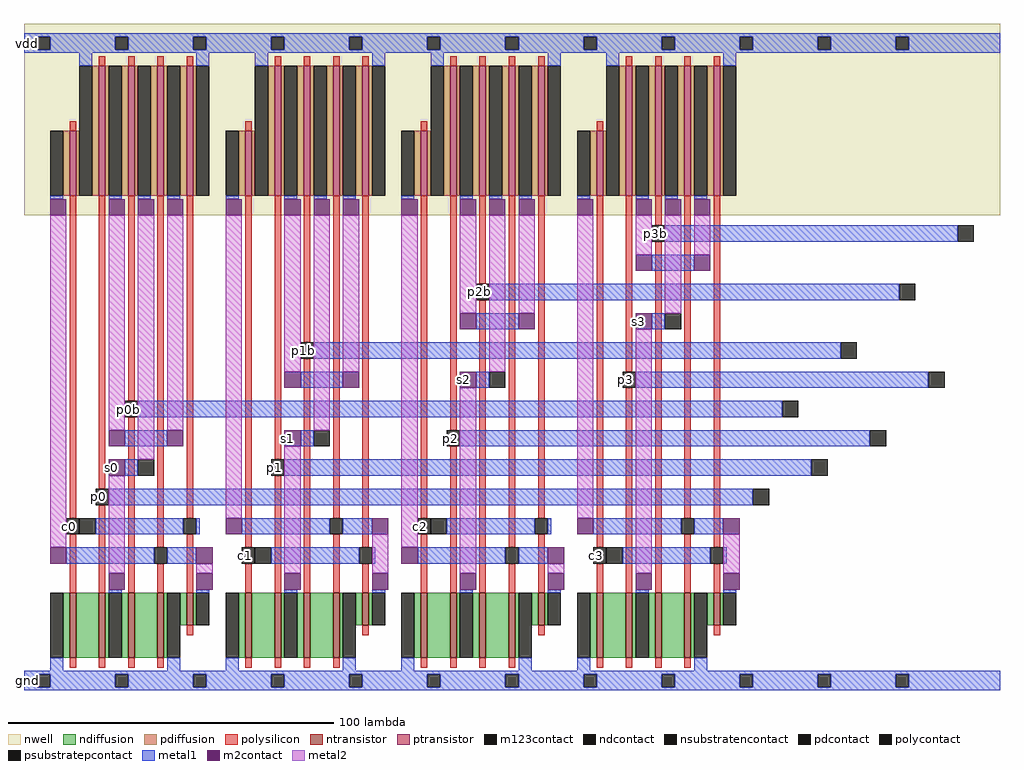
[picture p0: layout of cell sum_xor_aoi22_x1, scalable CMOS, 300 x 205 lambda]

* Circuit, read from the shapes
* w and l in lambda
.subckt sum_xor_aoi22_x1 c0 c1 c2 c3 p0 p0b p1 p1b p2 p2b p3 p3b s0 s1 s2 s3 vdd gnd
M1 n1 c0 gnd gnd nfet w=20 l=2
M2 s0 p0 n1 gnd nfet w=20 l=2
M3 n2 p0b s0 gnd nfet w=20 l=2
M4 gnd n3 n2 gnd nfet w=20 l=2
M5 n3 c0 gnd gnd nfet w=10 l=2
M6 n4 c1 gnd gnd nfet w=20 l=2
M7 s1 p1 n4 gnd nfet w=20 l=2
M8 n5 p1b s1 gnd nfet w=20 l=2
M9 gnd n6 n5 gnd nfet w=20 l=2
M10 n6 c1 gnd gnd nfet w=10 l=2
M11 n7 c2 gnd gnd nfet w=20 l=2
M12 s2 p2 n7 gnd nfet w=20 l=2
M13 n8 p2b s2 gnd nfet w=20 l=2
M14 gnd n9 n8 gnd nfet w=20 l=2
M15 n9 c2 gnd gnd nfet w=10 l=2
M16 n10 c3 gnd gnd nfet w=20 l=2
M17 s3 p3 n10 gnd nfet w=20 l=2
M18 n11 p3b s3 gnd nfet w=20 l=2
M19 gnd n12 n11 gnd nfet w=20 l=2
M20 n12 c3 gnd gnd nfet w=10 l=2
M21 vdd c0 n3 vdd pfet w=20 l=2
M22 n13 p0 vdd vdd pfet w=40 l=2
M23 s0 p0b n13 vdd pfet w=40 l=2
M24 n13 n3 s0 vdd pfet w=40 l=2
M25 vdd c0 n13 vdd pfet w=40 l=2
M26 vdd c1 n6 vdd pfet w=20 l=2
M27 n14 p1 vdd vdd pfet w=40 l=2
M28 s1 p1b n14 vdd pfet w=40 l=2
M29 n14 n6 s1 vdd pfet w=40 l=2
M30 vdd c1 n14 vdd pfet w=40 l=2
M31 vdd c2 n9 vdd pfet w=20 l=2
M32 n15 p2 vdd vdd pfet w=40 l=2
M33 s2 p2b n15 vdd pfet w=40 l=2
M34 n15 n9 s2 vdd pfet w=40 l=2
M35 vdd c2 n15 vdd pfet w=40 l=2
M36 vdd c3 n12 vdd pfet w=20 l=2
M37 n16 p3 vdd vdd pfet w=40 l=2
M38 s3 p3b n16 vdd pfet w=40 l=2
M39 n16 n12 s3 vdd pfet w=40 l=2
M40 vdd c3 n16 vdd pfet w=40 l=2
.ends

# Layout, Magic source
magic
tech scmos
<< nwell >>
rect 0 146 300 205
<< ntransistor >>
rect 14 10 16 30
rect 23 10 25 30
rect 32 10 34 30
rect 41 10 43 30
rect 50 20 52 30
rect 68 10 70 30
rect 77 10 79 30
rect 86 10 88 30
rect 95 10 97 30
rect 104 20 106 30
rect 122 10 124 30
rect 131 10 133 30
rect 140 10 142 30
rect 149 10 151 30
rect 158 20 160 30
rect 176 10 178 30
rect 185 10 187 30
rect 194 10 196 30
rect 203 10 205 30
rect 212 20 214 30
<< ptransistor >>
rect 14 152 16 172
rect 23 152 25 192
rect 32 152 34 192
rect 41 152 43 192
rect 50 152 52 192
rect 68 152 70 172
rect 77 152 79 192
rect 86 152 88 192
rect 95 152 97 192
rect 104 152 106 192
rect 122 152 124 172
rect 131 152 133 192
rect 140 152 142 192
rect 149 152 151 192
rect 158 152 160 192
rect 176 152 178 172
rect 185 152 187 192
rect 194 152 196 192
rect 203 152 205 192
rect 212 152 214 192
<< ndiffusion >>
rect 12 10 14 30
rect 16 10 23 30
rect 25 10 26 30
rect 30 10 32 30
rect 34 10 41 30
rect 43 10 44 30
rect 48 20 50 30
rect 52 20 53 30
rect 66 10 68 30
rect 70 10 77 30
rect 79 10 80 30
rect 84 10 86 30
rect 88 10 95 30
rect 97 10 98 30
rect 102 20 104 30
rect 106 20 107 30
rect 120 10 122 30
rect 124 10 131 30
rect 133 10 134 30
rect 138 10 140 30
rect 142 10 149 30
rect 151 10 152 30
rect 156 20 158 30
rect 160 20 161 30
rect 174 10 176 30
rect 178 10 185 30
rect 187 10 188 30
rect 192 10 194 30
rect 196 10 203 30
rect 205 10 206 30
rect 210 20 212 30
rect 214 20 215 30
<< pdiffusion >>
rect 12 152 14 172
rect 16 152 17 172
rect 21 152 23 192
rect 25 152 26 192
rect 30 152 32 192
rect 34 152 35 192
rect 39 152 41 192
rect 43 152 44 192
rect 48 152 50 192
rect 52 152 53 192
rect 66 152 68 172
rect 70 152 71 172
rect 75 152 77 192
rect 79 152 80 192
rect 84 152 86 192
rect 88 152 89 192
rect 93 152 95 192
rect 97 152 98 192
rect 102 152 104 192
rect 106 152 107 192
rect 120 152 122 172
rect 124 152 125 172
rect 129 152 131 192
rect 133 152 134 192
rect 138 152 140 192
rect 142 152 143 192
rect 147 152 149 192
rect 151 152 152 192
rect 156 152 158 192
rect 160 152 161 192
rect 174 152 176 172
rect 178 152 179 172
rect 183 152 185 192
rect 187 152 188 192
rect 192 152 194 192
rect 196 152 197 192
rect 201 152 203 192
rect 205 152 206 192
rect 210 152 212 192
rect 214 152 215 192
<< ndcontact >>
rect 8 10 12 30
rect 26 10 30 30
rect 44 10 48 30
rect 53 20 57 30
rect 62 10 66 30
rect 80 10 84 30
rect 98 10 102 30
rect 107 20 111 30
rect 116 10 120 30
rect 134 10 138 30
rect 152 10 156 30
rect 161 20 165 30
rect 170 10 174 30
rect 188 10 192 30
rect 206 10 210 30
rect 215 20 219 30
<< pdcontact >>
rect 8 152 12 172
rect 17 152 21 192
rect 26 152 30 192
rect 35 152 39 192
rect 44 152 48 192
rect 53 152 57 192
rect 62 152 66 172
rect 71 152 75 192
rect 80 152 84 192
rect 89 152 93 192
rect 98 152 102 192
rect 107 152 111 192
rect 116 152 120 172
rect 125 152 129 192
rect 134 152 138 192
rect 143 152 147 192
rect 152 152 156 192
rect 161 152 165 192
rect 170 152 174 172
rect 179 152 183 192
rect 188 152 192 192
rect 197 152 201 192
rect 206 152 210 192
rect 215 152 219 192
<< psubstratepcontact >>
rect 4 1 8 5
rect 28 1 32 5
rect 52 1 56 5
rect 76 1 80 5
rect 100 1 104 5
rect 124 1 128 5
rect 148 1 152 5
rect 172 1 176 5
rect 196 1 200 5
rect 220 1 224 5
rect 244 1 248 5
rect 268 1 272 5
<< nsubstratencontact >>
rect 4 197 8 201
rect 28 197 32 201
rect 52 197 56 201
rect 76 197 80 201
rect 100 197 104 201
rect 124 197 128 201
rect 148 197 152 201
rect 172 197 176 201
rect 196 197 200 201
rect 220 197 224 201
rect 244 197 248 201
rect 268 197 272 201
<< polysilicon >>
rect 23 192 25 195
rect 32 192 34 195
rect 41 192 43 195
rect 50 192 52 195
rect 77 192 79 195
rect 86 192 88 195
rect 95 192 97 195
rect 104 192 106 195
rect 131 192 133 195
rect 140 192 142 195
rect 149 192 151 195
rect 158 192 160 195
rect 185 192 187 195
rect 194 192 196 195
rect 203 192 205 195
rect 212 192 214 195
rect 14 172 16 175
rect 68 172 70 175
rect 122 172 124 175
rect 176 172 178 175
rect 14 53 16 152
rect 23 62 25 152
rect 32 89 34 152
rect 14 30 16 48
rect 23 30 25 57
rect 32 30 34 84
rect 41 44 43 152
rect 50 53 52 152
rect 41 30 43 39
rect 50 30 52 48
rect 68 44 70 152
rect 77 71 79 152
rect 86 107 88 152
rect 68 30 70 39
rect 77 30 79 66
rect 86 30 88 102
rect 95 53 97 152
rect 95 30 97 48
rect 104 44 106 152
rect 122 53 124 152
rect 131 80 133 152
rect 140 125 142 152
rect 104 30 106 39
rect 122 30 124 48
rect 131 30 133 75
rect 140 30 142 120
rect 149 44 151 152
rect 158 53 160 152
rect 149 30 151 39
rect 158 30 160 48
rect 176 44 178 152
rect 185 98 187 152
rect 194 143 196 152
rect 176 30 178 39
rect 185 30 187 93
rect 194 30 196 138
rect 203 53 205 152
rect 203 30 205 48
rect 212 44 214 152
rect 212 30 214 39
rect 50 17 52 20
rect 104 17 106 20
rect 158 17 160 20
rect 212 17 214 20
rect 14 7 16 10
rect 23 7 25 10
rect 32 7 34 10
rect 41 7 43 10
rect 68 7 70 10
rect 77 7 79 10
rect 86 7 88 10
rect 95 7 97 10
rect 122 7 124 10
rect 131 7 133 10
rect 140 7 142 10
rect 149 7 151 10
rect 176 7 178 10
rect 185 7 187 10
rect 194 7 196 10
rect 203 7 205 10
<< polycontact >>
rect 31 84 35 89
rect 22 57 26 62
rect 13 48 17 53
rect 49 48 53 53
rect 40 39 44 44
rect 85 102 89 107
rect 76 66 80 71
rect 67 39 71 44
rect 94 48 98 53
rect 139 120 143 125
rect 130 75 134 80
rect 121 48 125 53
rect 103 39 107 44
rect 157 48 161 53
rect 148 39 152 44
rect 193 138 197 143
rect 184 93 188 98
rect 175 39 179 44
rect 202 48 206 53
rect 211 39 215 44
<< metal1 >>
rect 0 201 300 202
rect 0 197 4 201
rect 8 197 28 201
rect 32 197 52 201
rect 56 197 76 201
rect 80 197 100 201
rect 104 197 124 201
rect 128 197 148 201
rect 152 197 172 201
rect 176 197 196 201
rect 200 197 220 201
rect 224 197 244 201
rect 248 197 268 201
rect 272 197 300 201
rect 0 196 300 197
rect 17 192 21 196
rect 53 192 57 196
rect 8 151 12 152
rect 26 151 30 152
rect 35 151 39 152
rect 71 192 75 196
rect 107 192 111 196
rect 44 151 48 152
rect 62 151 66 152
rect 80 151 84 152
rect 89 151 93 152
rect 125 192 129 196
rect 161 192 165 196
rect 98 151 102 152
rect 116 151 120 152
rect 134 151 138 152
rect 143 151 147 152
rect 179 192 183 196
rect 215 192 219 196
rect 152 151 156 152
rect 170 151 174 152
rect 188 151 192 152
rect 197 151 201 152
rect 206 151 210 152
rect 197 138 287 143
rect 193 129 206 134
rect 143 120 269 125
rect 139 111 152 116
rect 193 111 197 116
rect 89 102 251 107
rect 85 93 98 98
rect 139 93 143 98
rect 188 93 278 98
rect 35 84 233 89
rect 31 75 44 80
rect 85 75 89 80
rect 134 75 260 80
rect 31 66 35 71
rect 80 66 242 71
rect 26 57 224 62
rect 22 48 49 53
rect 53 48 54 53
rect 67 48 94 53
rect 98 48 107 53
rect 130 48 157 53
rect 161 48 162 53
rect 175 48 202 53
rect 206 48 215 53
rect 13 39 40 44
rect 44 39 53 44
rect 76 39 103 44
rect 107 39 108 44
rect 121 39 148 44
rect 152 39 161 44
rect 184 39 211 44
rect 215 39 216 44
rect 26 30 30 31
rect 53 30 57 31
rect 80 30 84 31
rect 107 30 111 31
rect 134 30 138 31
rect 161 30 165 31
rect 188 30 192 31
rect 215 30 219 31
rect 8 6 12 10
rect 44 6 48 10
rect 62 6 66 10
rect 98 6 102 10
rect 116 6 120 10
rect 152 6 156 10
rect 170 6 174 10
rect 206 6 210 10
rect 0 5 300 6
rect 0 1 4 5
rect 8 1 28 5
rect 32 1 52 5
rect 56 1 76 5
rect 80 1 100 5
rect 104 1 124 5
rect 128 1 148 5
rect 152 1 172 5
rect 176 1 196 5
rect 200 1 220 5
rect 224 1 244 5
rect 248 1 268 5
rect 272 1 300 5
rect 0 0 300 1
<< m2contact >>
rect 8 146 13 151
rect 26 146 31 151
rect 35 146 40 151
rect 44 146 49 151
rect 62 146 67 151
rect 80 146 85 151
rect 89 146 94 151
rect 98 146 103 151
rect 116 146 121 151
rect 134 146 139 151
rect 143 146 148 151
rect 152 146 157 151
rect 170 146 175 151
rect 188 146 193 151
rect 197 146 202 151
rect 206 146 211 151
rect 188 129 193 134
rect 206 129 211 134
rect 134 111 139 116
rect 152 111 157 116
rect 188 111 193 116
rect 80 93 85 98
rect 98 93 103 98
rect 134 93 139 98
rect 26 75 31 80
rect 44 75 49 80
rect 80 75 85 80
rect 26 66 31 71
rect 62 48 67 53
rect 107 48 112 53
rect 170 48 175 53
rect 215 48 220 53
rect 8 39 13 44
rect 53 39 58 44
rect 116 39 121 44
rect 161 39 166 44
rect 26 31 31 36
rect 53 31 58 36
rect 80 31 85 36
rect 107 31 112 36
rect 134 31 139 36
rect 161 31 166 36
rect 188 31 193 36
rect 215 31 220 36
<< metal2 >>
rect 8 44 13 146
rect 26 80 31 146
rect 35 71 40 146
rect 44 80 49 146
rect 26 36 31 66
rect 62 53 67 146
rect 80 98 85 146
rect 89 80 94 146
rect 98 98 103 146
rect 53 36 58 39
rect 80 36 85 75
rect 107 36 112 48
rect 116 44 121 146
rect 134 116 139 146
rect 143 98 148 146
rect 152 116 157 146
rect 134 36 139 93
rect 170 53 175 146
rect 188 134 193 146
rect 197 116 202 146
rect 206 134 211 146
rect 161 36 166 39
rect 188 36 193 111
rect 215 36 220 48
<< m123contact >>
rect 35 66 40 71
rect 17 48 22 53
rect 89 75 94 80
rect 71 39 76 44
rect 143 93 148 98
rect 125 48 130 53
rect 287 138 292 143
rect 269 120 274 125
rect 197 111 202 116
rect 179 39 184 44
rect 251 102 256 107
rect 278 93 283 98
rect 233 84 238 89
rect 260 75 265 80
rect 242 66 247 71
rect 224 57 229 62
<< labels >>
rlabel metal1 13 48 15 53 0 c0
port 1 nsew
rlabel metal1 67 39 69 44 0 c1
port 2 nsew
rlabel metal1 121 48 123 53 0 c2
port 3 nsew
rlabel metal1 175 39 177 44 0 c3
port 4 nsew
rlabel metal1 22 57 24 62 0 p0
port 5 nsew
rlabel metal1 31 84 33 89 0 p0b
port 6 nsew
rlabel metal1 76 66 78 71 0 p1
port 7 nsew
rlabel metal1 85 102 87 107 0 p1b
port 8 nsew
rlabel metal1 130 75 132 80 0 p2
port 9 nsew
rlabel metal1 139 120 141 125 0 p2b
port 10 nsew
rlabel metal1 184 93 186 98 0 p3
port 11 nsew
rlabel metal1 193 138 195 143 0 p3b
port 12 nsew
rlabel m2contact 26 66 28 71 0 s0
port 13 nsew
rlabel m2contact 80 75 82 80 0 s1
port 14 nsew
rlabel m2contact 134 93 136 98 0 s2
port 15 nsew
rlabel m2contact 188 111 190 116 0 s3
port 16 nsew
rlabel metal1 0 196 2 202 0 vdd
port 17 nsew
rlabel metal1 0 0 2 6 0 gnd
port 18 nsew
<< end >>
